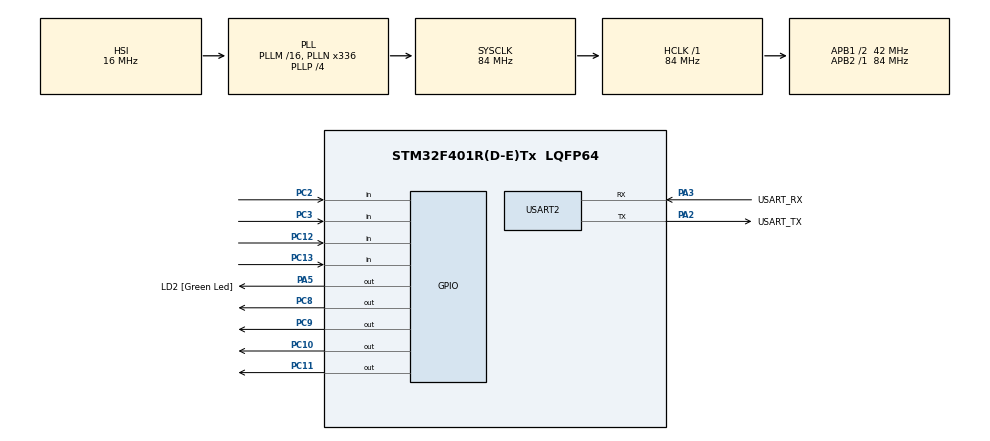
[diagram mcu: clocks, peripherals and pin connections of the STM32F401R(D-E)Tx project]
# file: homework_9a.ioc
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Mcu.Family=STM32F4
Mcu.Name=STM32F401R(D-E)Tx
Mcu.Package=LQFP64
NVIC.PriorityGroup=NVIC_PRIORITYGROUP_0
NVIC.TIM2_IRQn=true\:0\:0\:false\:false\:true\:true\:true\:true
PA13.GPIO_Label=TMS
PA13.Mode=Serial_Wire
PA13.Signal=SYS_JTMS-SWDIO
PA14.GPIO_Label=TCK
PA14.Mode=Serial_Wire
PA14.Signal=SYS_JTCK-SWCLK
PA2.GPIO_Label=USART_TX
PA2.GPIO_Mode=GPIO_MODE_AF_PP
PA2.GPIO_PuPd=GPIO_NOPULL
PA2.GPIO_Speed=GPIO_SPEED_FREQ_LOW
PA2.Mode=Asynchronous
PA2.Signal=USART2_TX
PA3.GPIO_Label=USART_RX
PA3.GPIO_Mode=GPIO_MODE_AF_PP
PA3.GPIO_PuPd=GPIO_NOPULL
PA3.GPIO_Speed=GPIO_SPEED_FREQ_LOW
PA3.Mode=Asynchronous
PA3.Signal=USART2_RX
PA5.GPIO_Label=LD2 [Green Led]
PA5.GPIO_Mode=GPIO_MODE_OUTPUT_PP
PA5.GPIO_PuPd=GPIO_NOPULL
PA5.GPIO_Speed=GPIO_SPEED_FREQ_LOW
PA5.Signal=GPIO_Output
PB3.GPIO_Label=SWO
PB3.Signal=SYS_JTDO-SWO
PC10.Signal=GPIO_Output
PC11.Signal=GPIO_Output
PC12.Signal=GPIO_Input
PC13-ANTI_TAMP.Signal=GPIO_Input
PC14-OSC32_IN.Mode=LSE-External-Oscillator
PC14-OSC32_IN.Signal=RCC_OSC32_IN
PC15-OSC32_OUT.Mode=LSE-External-Oscillator
PC15-OSC32_OUT.Signal=RCC_OSC32_OUT
PC2.Signal=GPIO_Input
PC3.Signal=GPIO_Input
PC8.Signal=GPIO_Output
PC9.Signal=GPIO_Output
PH0\ -\ OSC_IN.Mode=HSE-External-Clock-Source
PH0\ -\ OSC_IN.Signal=RCC_OSC_IN
PH1\ -\ OSC_OUT.Mode=HSE-External-Clock-Source
PH1\ -\ OSC_OUT.Signal=RCC_OSC_OUT
ProjectManager.HeapSize=0x200
ProjectManager.StackSize=0x400
ProjectManager.TargetToolchain=STM32CubeIDE
RCC.48MHZClocksFreq_Value=48000000
RCC.AHBFreq_Value=84000000
RCC.APB1CLKDivider=RCC_HCLK_DIV2
RCC.APB1Freq_Value=42000000
RCC.APB1TimFreq_Value=84000000
RCC.APB2Freq_Value=84000000
RCC.APB2TimFreq_Value=84000000
RCC.CortexFreq_Value=84000000
RCC.HCLKFreq_Value=84000000
RCC.HSE_VALUE=8000000
RCC.HSI_VALUE=16000000
RCC.PLLN=336
RCC.PLLP=RCC_PLLP_DIV4
RCC.PLLQ=7
RCC.SYSCLKFreq_VALUE=84000000
RCC.SYSCLKSource=RCC_SYSCLKSOURCE_PLLCLK
RCC.VCOOutputFreq_Value=336000000
TIM2.Period=499
TIM2.Prescaler=839
USART2.VirtualMode=VM_ASYNC
VP_TIM2_VS_ClockSourceINT.Mode=Internal
board=NUCLEO-F401RE

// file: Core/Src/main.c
/* USER CODE BEGIN Header */
/**
  ******************************************************************************
  * @file           : main.c
  * @brief          : Main program body
  ******************************************************************************
  * @attention
  *
  * Copyright (c) 2023 STMicroelectronics.
  * All rights reserved.
  *
  * This software is licensed under terms that can be found in the LICENSE file
  * in the root directory of this software component.
  * If no LICENSE file comes with this software, it is provided AS-IS.
  *
  ******************************************************************************
  */
/* USER CODE END Header */
#include "main.h"

/* USER CODE BEGIN PM */

#define DIM_ROWS 4
#define DIM_COLS 4
#define DIM_STRING 100
#define DEBOUNCING_THRESHOLD 5
/* USER CODE END PM */

TIM_HandleTypeDef htim2;

UART_HandleTypeDef huart2;

/* USER CODE BEGIN PV */

// relative to GPIO_C
int rows[DIM_ROWS] = {GPIO_PIN_12, GPIO_PIN_13,GPIO_PIN_2, GPIO_PIN_3, }; // to read from
// relative to GPIO_C
int cols[DIM_ROWS] = {GPIO_PIN_8,GPIO_PIN_9 , GPIO_PIN_10, GPIO_PIN_11}; // to write on

// out buffer
char str_buffer[DIM_STRING];
int str_buffer_len=0;

// History = 0: button not currently pressed since when I notice not pressed I set zero
// History > 1: button currently pressed since each time I press it I increment the value
uint16_t history[16];

// keep track of the last activated column (in previous timer callback)
int currentColumn;

// where to store the last GPIO Read
uint16_t buttonState;
/* USER CODE END PV */

void SystemClock_Config(void);
static void MX_GPIO_Init(void);
static void MX_USART2_UART_Init(void);
static void MX_TIM2_Init(void);
/* USER CODE BEGIN PFP */
void scanColumn();
int buttonValueFromRowColumn(int row, int column);
void printButtonNumber(int number);
/* USER CODE END PFP */

/* USER CODE BEGIN 0 */

void HAL_TIM_PeriodElapsedCallback(TIM_HandleTypeDef* htim){
	if(htim==&htim2){
		scanColumn();
	}
}

void scanColumn(){
	// Scan the rows for the currently active column
	for(int r=0; r<DIM_ROWS; r++){
		// Read the row
		buttonState = HAL_GPIO_ReadPin(GPIOC, rows[r]);

		// Update history
		if(buttonState==GPIO_PIN_RESET){
			history[buttonValueFromRowColumn(r, currentColumn)]++;
		} else {
			history[buttonValueFromRowColumn(r, currentColumn)] = 0;
		}

		// If button pressing history reached the DEBOUNCING_THRESHOLD, print its value
		if(history[buttonValueFromRowColumn(r, currentColumn)]==DEBOUNCING_THRESHOLD) {
			printButtonNumber(buttonValueFromRowColumn(r, currentColumn));
		}
	}
	// Now turn down the currently active column
	HAL_GPIO_WritePin(GPIOC, cols[currentColumn], GPIO_PIN_RESET);
	// Pass to the next column
	currentColumn=(currentColumn+1)%DIM_COLS;
	// Turn on the next column so that at the next interrupt it is ready for the rows scan
	HAL_GPIO_WritePin(GPIOC, cols[currentColumn], GPIO_PIN_SET);
}

int buttonValueFromRowColumn(int row, int column) {
	return row*DIM_COLS+column;
}

void printButtonNumber(int number){
	// to print from 0 to F I print 0-15 in hex
	str_buffer_len = snprintf(str_buffer, DIM_STRING, "Button %X pressed\n\r", number);
	HAL_UART_Transmit(&huart2, str_buffer, str_buffer_len, 50);
}
/* USER CODE END 0 */

int main(void)
{

  /* MCU Configuration--------------------------------------------------------*/

  /* Reset of all peripherals, Initializes the Flash interface and the Systick. */
  HAL_Init();

  /* Configure the system clock */
  SystemClock_Config();

  /* Initialize all configured peripherals */
  MX_GPIO_Init();
  MX_USART2_UART_Init();
  MX_TIM2_Init();
  /* USER CODE BEGIN 2 */
  HAL_TIM_Base_Start_IT(&htim2);
  /* USER CODE END 2 */

  /* Infinite loop */
  while (1)
  {

  }
}

void SystemClock_Config(void)
{
  RCC_OscInitTypeDef RCC_OscInitStruct = {0};
  RCC_ClkInitTypeDef RCC_ClkInitStruct = {0};

  /** Configure the main internal regulator output voltage
  */
  __HAL_RCC_PWR_CLK_ENABLE();
  __HAL_PWR_VOLTAGESCALING_CONFIG(PWR_REGULATOR_VOLTAGE_SCALE2);

  /** Initializes the RCC Oscillators according to the specified parameters
  * in the RCC_OscInitTypeDef structure.
  */
  RCC_OscInitStruct.OscillatorType = RCC_OSCILLATORTYPE_HSI;
  RCC_OscInitStruct.HSIState = RCC_HSI_ON;
  RCC_OscInitStruct.HSICalibrationValue = RCC_HSICALIBRATION_DEFAULT;
  RCC_OscInitStruct.PLL.PLLState = RCC_PLL_ON;
  RCC_OscInitStruct.PLL.PLLSource = RCC_PLLSOURCE_HSI;
  RCC_OscInitStruct.PLL.PLLM = 16;
  RCC_OscInitStruct.PLL.PLLN = 336;
  RCC_OscInitStruct.PLL.PLLP = RCC_PLLP_DIV4;
  RCC_OscInitStruct.PLL.PLLQ = 7;
  if (HAL_RCC_OscConfig(&RCC_OscInitStruct) != HAL_OK)
  {
    Error_Handler();
  }

  /** Initializes the CPU, AHB and APB buses clocks
  */
  RCC_ClkInitStruct.ClockType = RCC_CLOCKTYPE_HCLK|RCC_CLOCKTYPE_SYSCLK
                              |RCC_CLOCKTYPE_PCLK1|RCC_CLOCKTYPE_PCLK2;
  RCC_ClkInitStruct.SYSCLKSource = RCC_SYSCLKSOURCE_PLLCLK;
  RCC_ClkInitStruct.AHBCLKDivider = RCC_SYSCLK_DIV1;
  RCC_ClkInitStruct.APB1CLKDivider = RCC_HCLK_DIV2;
  RCC_ClkInitStruct.APB2CLKDivider = RCC_HCLK_DIV1;

  if (HAL_RCC_ClockConfig(&RCC_ClkInitStruct, FLASH_LATENCY_2) != HAL_OK)
  {
    Error_Handler();
  }
}

static void MX_TIM2_Init(void)
{

  TIM_ClockConfigTypeDef sClockSourceConfig = {0};
  TIM_MasterConfigTypeDef sMasterConfig = {0};

  htim2.Instance = TIM2;
  htim2.Init.Prescaler = 839;
  htim2.Init.CounterMode = TIM_COUNTERMODE_UP;
  htim2.Init.Period = 499;
  htim2.Init.ClockDivision = TIM_CLOCKDIVISION_DIV1;
  htim2.Init.AutoReloadPreload = TIM_AUTORELOAD_PRELOAD_DISABLE;
  if (HAL_TIM_Base_Init(&htim2) != HAL_OK)
  {
    Error_Handler();
  }
  sClockSourceConfig.ClockSource = TIM_CLOCKSOURCE_INTERNAL;
  if (HAL_TIM_ConfigClockSource(&htim2, &sClockSourceConfig) != HAL_OK)
  {
    Error_Handler();
  }
  sMasterConfig.MasterOutputTrigger = TIM_TRGO_RESET;
  sMasterConfig.MasterSlaveMode = TIM_MASTERSLAVEMODE_DISABLE;
  if (HAL_TIMEx_MasterConfigSynchronization(&htim2, &sMasterConfig) != HAL_OK)
  {
    Error_Handler();
  }

}

static void MX_USART2_UART_Init(void)
{

  huart2.Instance = USART2;
  huart2.Init.BaudRate = 115200;
  huart2.Init.WordLength = UART_WORDLENGTH_8B;
  huart2.Init.StopBits = UART_STOPBITS_1;
  huart2.Init.Parity = UART_PARITY_NONE;
  huart2.Init.Mode = UART_MODE_TX_RX;
  huart2.Init.HwFlowCtl = UART_HWCONTROL_NONE;
  huart2.Init.OverSampling = UART_OVERSAMPLING_16;
  if (HAL_UART_Init(&huart2) != HAL_OK)
  {
    Error_Handler();
  }

}

static void MX_GPIO_Init(void)
{
  GPIO_InitTypeDef GPIO_InitStruct = {0};

  /* GPIO Ports Clock Enable */
  __HAL_RCC_GPIOC_CLK_ENABLE();
  __HAL_RCC_GPIOH_CLK_ENABLE();
  __HAL_RCC_GPIOA_CLK_ENABLE();
  __HAL_RCC_GPIOB_CLK_ENABLE();

  /*Configure GPIO pin Output Level */
  HAL_GPIO_WritePin(LD2_GPIO_Port, LD2_Pin, GPIO_PIN_RESET);

  /*Configure GPIO pin Output Level */
  HAL_GPIO_WritePin(GPIOC, GPIO_PIN_8|GPIO_PIN_9|GPIO_PIN_10|GPIO_PIN_11, GPIO_PIN_RESET);

  /*Configure GPIO pins : PC13 PC2 PC3 PC12 */
  GPIO_InitStruct.Pin = GPIO_PIN_13|GPIO_PIN_2|GPIO_PIN_3|GPIO_PIN_12;
  GPIO_InitStruct.Mode = GPIO_MODE_INPUT;
  GPIO_InitStruct.Pull = GPIO_NOPULL;
  HAL_GPIO_Init(GPIOC, &GPIO_InitStruct);

  /*Configure GPIO pin : LD2_Pin */
  GPIO_InitStruct.Pin = LD2_Pin;
  GPIO_InitStruct.Mode = GPIO_MODE_OUTPUT_PP;
  GPIO_InitStruct.Pull = GPIO_NOPULL;
  GPIO_InitStruct.Speed = GPIO_SPEED_FREQ_LOW;
  HAL_GPIO_Init(LD2_GPIO_Port, &GPIO_InitStruct);

  /*Configure GPIO pins : PC8 PC9 PC10 PC11 */
  GPIO_InitStruct.Pin = GPIO_PIN_8|GPIO_PIN_9|GPIO_PIN_10|GPIO_PIN_11;
  GPIO_InitStruct.Mode = GPIO_MODE_OUTPUT_PP;
  GPIO_InitStruct.Pull = GPIO_NOPULL;
  GPIO_InitStruct.Speed = GPIO_SPEED_FREQ_LOW;
  HAL_GPIO_Init(GPIOC, &GPIO_InitStruct);

}

void Error_Handler(void)
{
  __disable_irq();
  while (1)
  {
  }
}
